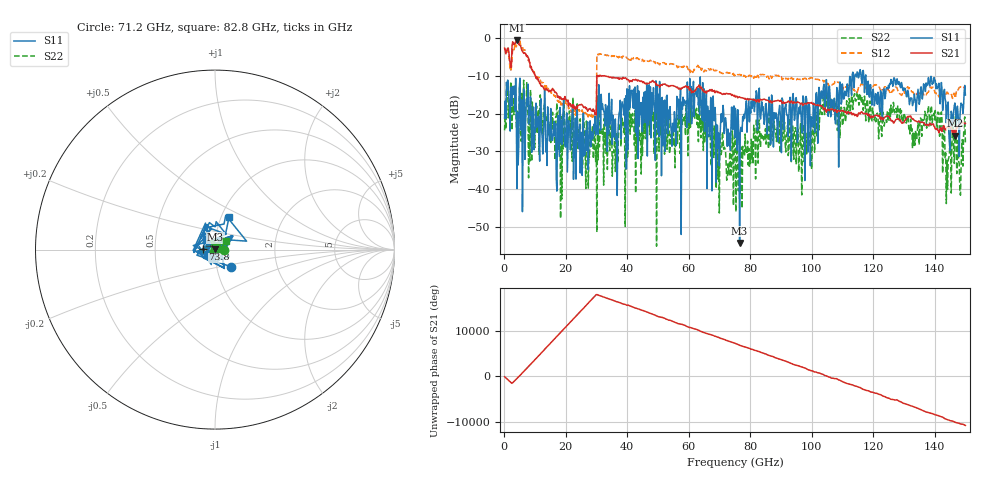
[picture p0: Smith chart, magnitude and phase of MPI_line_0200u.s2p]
!  2-Port S-parameters saved by WinCal
! VAR MeasName=S-Parameters (RAW_DATA) read from VNA (MS4647B)
! VAR MeasDate=09-Dec-21 16:13:14
! VAR NAME=L0
! VAR FILENAME=L0.S2P
! VAR DATE=09-Dec-21 16:13:14
! VAR PHYS_PORTS=1,2
! VAR ObjTypeName=DATASET
! VAR IndexType=Frequency
# Hz S RI R 50
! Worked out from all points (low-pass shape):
!   750 points, 200 MHz to 150 GHz, reference 50 ohm
!   highest |S21| = -0.65 dB at 4.2 GHz (marker M1); lowest = -25.9 dB at 146.6 GHz (marker M2)
!   |S21| within 3 dB of the highest: 777.9 MHz to 1.556 GHz (778 MHz wide, 66.7 % of centre); 2.543 GHz to 6.068 GHz (3.526 GHz wide, 81.9 % of centre)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
!   lowest |S11| = -54.3 dB at 76.6 GHz (marker M3), VSWR 1.00, Z = 50.2 + j0.0714 ohm
!   |S11| at or under -10 dB: start of sweep to 113.2 GHz; 113.5485 GHz to 114.0448 GHz (496.3 MHz wide, 0.436 % of centre); 117.6 GHz to end of sweep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
!   |S22| runs from -55.1 to -11.2 dB; largest |S21 - S12| = 1.8
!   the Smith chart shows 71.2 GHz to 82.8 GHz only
!   S11 on the Smith chart (normalised r, x): 71.2 GHz: 1.17, -0.22; 73.8 GHz: 0.87, +0.00; 82.8 GHz: 1.09, +0.42
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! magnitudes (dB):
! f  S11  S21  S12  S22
! 200 MHz  -21.3  -2.7  -2.6  -24.5
! 3.2 GHz  -14.9  -1.7  -3.1  -20.3
! 4.2 GHz  -39.9  -0.6  -1.3  -24.3
! 25.2 GHz  -25.0  -17.6  -19.3  -29.5
! 29.4 GHz  -24.4  -19.2  -20.8  -27.4
! 30.8 GHz  -12.3  -10.2  -4.5  -19.5
! 50.2 GHz  -14.9  -12.5  -6.8  -19.6
! 62 GHz  -14.8  -13.8  -8.4  -21.5
! 69.6 GHz  -29.2  -14.2  -8.8  -37.4
! 71.2 GHz  -17.8  -14.9  -9.4  -26.4
! 73.8 GHz  -23.2  -14.9  -9.2  -36.7
! 75.2 GHz  -18.6  -15.7  -9.8  -28.1
! 76.6 GHz  -54.3  -15.6  -9.6  -37.5
! 82.8 GHz  -14.0  -17.0  -10.5  -22.4
! 100.2 GHz  -23.5  -17.3  -10.5  -28.2
! 105 GHz  -13.2  -19.2  -12.2  -19.7
! 125.2 GHz  -13.3  -20.8  -14.0  -22.0
! 140.8 GHz  -13.4  -23.9  -14.6  -24.3
! 144 GHz  -18.2  -23.5  -14.3  -32.3
! 146.6 GHz  -17.2  -25.9  -15.9  -22.7
! 147.8 GHz  -22.5  -23.2  -13.4  -32.6
! 150 GHz  -15.1  -22.6  -13.4  -27.6
